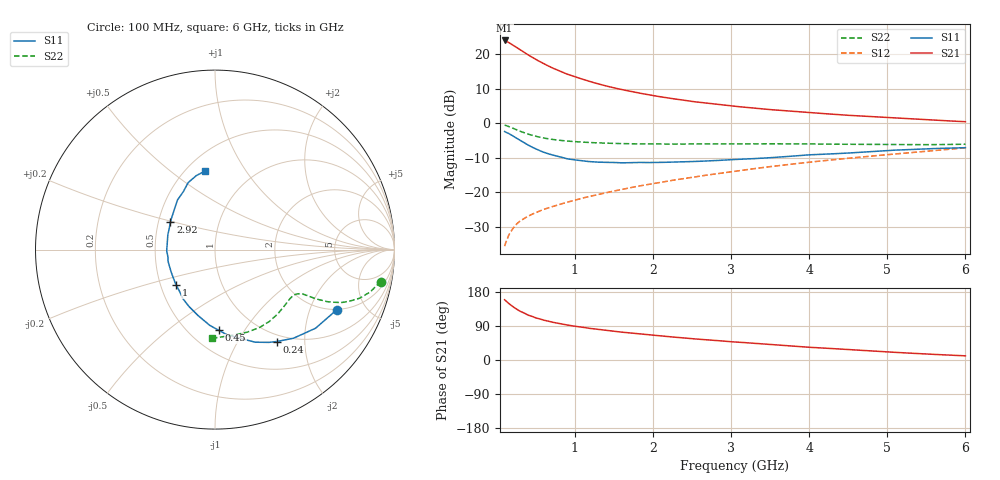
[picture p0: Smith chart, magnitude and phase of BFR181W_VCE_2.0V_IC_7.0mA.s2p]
! Infineon Technologies  Discrete & RF Semiconductors
! BFR181W
! VCE =  2.0 V,  IC =  7.0 mA
! Common Emitter S-Parameters:  Nov 2015
# GHz  S  MA  R  50
!  f  S11  S21  S12  S22
! GHz  MAG  ANG  MAG  ANG  MAG  ANG  MAG  ANG
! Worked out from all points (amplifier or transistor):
!   192 points, 100 MHz to 6 GHz, reference 50 ohm
!   highest |S21| = 24.0 dB at 100 MHz (marker M1)
!   |S21| within 3 dB of that: start of sweep to 320 MHz
!   unconditionally stable (mu >= 1): 1.129 GHz to 3.093 GHz
!   at 440 MHz: K = 0.63, MSG = 22.9 dB, |S12| = -26.6 dB
!   at 1.7 GHz: K = 1.07, MAG = 12.4 dB, |S12| = -18.8 dB
!   at 6 GHz: K = 0.78, MSG = 3.8 dB, |S12| = -7.2 dB
!   S11 on the Smith chart (normalised r, x): 100 MHz: 1.99, -3.12; 240 MHz: 0.89, -1.48; 450 MHz: 0.69, -0.78; 1 GHz: 0.60, -0.26; 2.92 GHz: 0.58, +0.19; 6 GHz: 0.62, +0.67
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0.1  0.7573 -26.2  15.85 159.0  0.0164 76.2  0.941 -10.9
0.15  0.7113 -38.0  14.87 149.6  0.0233 72.2  0.8969 -15.2
0.2  0.6595 -48.5  13.77 141.5  0.0289 68.1  0.8498 -18.6
0.24  0.617 -56.1  12.87 136.0  0.0331 65.2  0.8118 -20.5
0.3  0.5626 -66.5  11.6 128.5  0.0381 62.6  0.7615 -22.8
0.4  0.4821 -81.5  9.812 118.5  0.0446 60.5  0.6928 -24.8
0.45  0.4501 -87.3  9.084 115.1  0.0475 60.1  0.6681 -25.2
0.5  0.4233 -93.9  8.392 111.2  0.0504 59.8  0.6434 -25.7
0.6  0.3788 -104.6  7.292 105.3  0.056 59.6  0.6081 -26.2
0.7  0.3486 -114.5  6.407 100.2  0.0609 60.4  0.5829 -26.4
0.8  0.327 -123.2  5.729 96.0  0.0659 61.2  0.564 -26.6
1  0.2928 -137.9  4.7 89.0  0.0764 62.7  0.5389 -27.1
1.1  0.2825 -144.4  4.334 86.3  0.0818 63.4  0.5304 -27.6
1.2  0.2761 -151.2  3.98 83.2  0.0872 64.1  0.5219 -28.1
1.5  0.2692 -166.2  3.251 75.8  0.1035 65.6  0.5078 -30.0
2.08  0.2692 171.0  2.429 63.9  0.1375 67.4  0.4977 -35.2
2.5  0.2772 158.7  2.064 56.2  0.1637 67.8  0.4979 -39.5
2.92  0.2913 148.4  1.82 49.6  0.1913 67.4  0.4999 -44.7
3.1  0.2983 144.5  1.734 46.9  0.204 67.0  0.5003 -47.2
4.1  0.3505 125.2  1.399 32.5  0.2787 63.4  0.4979 -61.9
5.1  0.4058 110.3  1.191 20.2  0.3572 58.3  0.4873 -77.9
6  0.4404 97.5  1.049 11.0  0.4383 52.9  0.4949 -92.1
